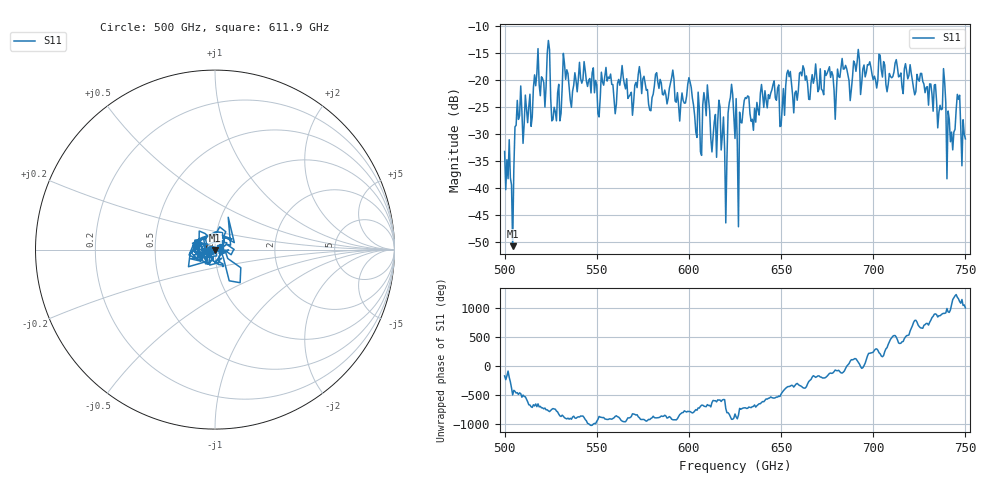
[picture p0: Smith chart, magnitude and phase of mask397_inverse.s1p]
!Created with skrf (http://scikit-rf.org).
# GHz S MA R 50.0
!freq magS11 angS11
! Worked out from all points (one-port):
!   401 points, 500 GHz to 750 GHz, reference 50 ohm
!   lowest |S11| = -50.8 dB at 504.4 GHz (marker M1), VSWR 1.01, Z = 49.8 - j0.194 ohm
!   |S11| at or under -10 dB: start of sweep to end of sweep
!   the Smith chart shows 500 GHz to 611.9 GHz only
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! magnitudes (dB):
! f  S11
! 500 GHz  -33.3
! 504.4 GHz  -50.8
! 507.5 GHz  -27.3
! 513.8 GHz  -22.7
! 516.9 GHz  -21.1
! 523.8 GHz  -12.7
! 526.9 GHz  -25.1
! 531.2 GHz  -21.4
! 562.5 GHz  -21.0
! 579.4 GHz  -25.7
! 590.6 GHz  -19.6
! 593.8 GHz  -22.4
! 600.6 GHz  -20.4
! 605.6 GHz  -25.2
! 609.4 GHz  -26.6
! 613.8 GHz  -27.8
! 617.5 GHz  -33.0
! 619.4 GHz  -32.8
! 622.5 GHz  -23.3
! 625 GHz  -30.8
! 627.5 GHz  -26.0
! 631.2 GHz  -23.4
! 635 GHz  -29.3
! 656.2 GHz  -22.8
! 687.5 GHz  -23.8
! 691.2 GHz  -16.7
! 718.8 GHz  -19.8
! 750 GHz  -30.9
